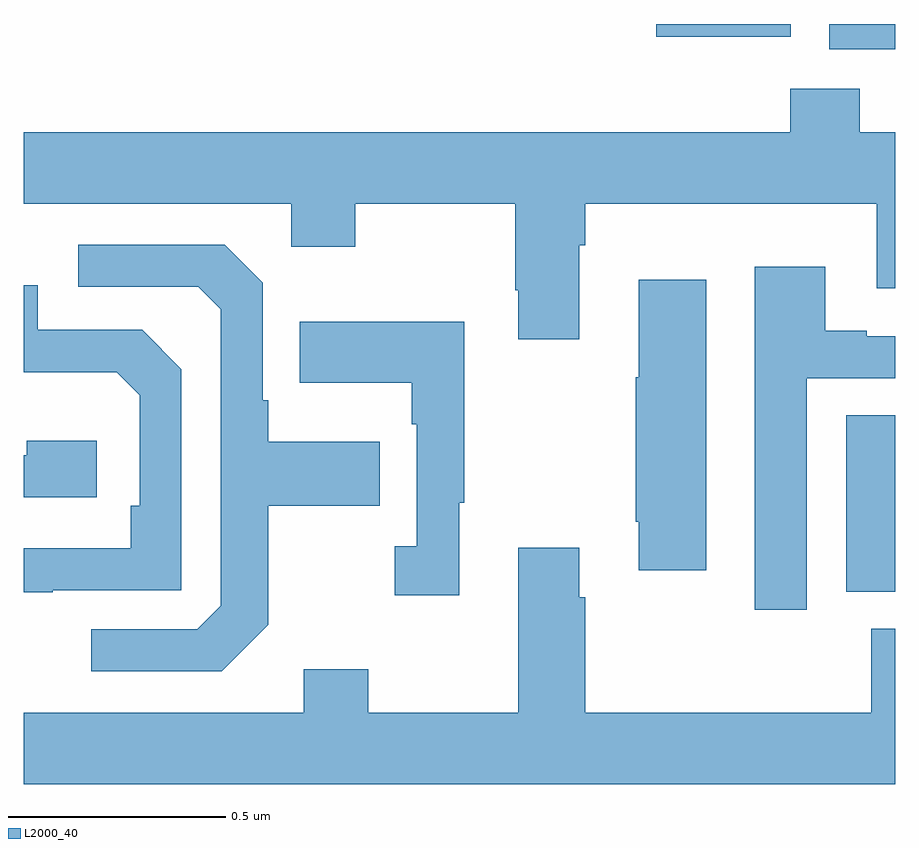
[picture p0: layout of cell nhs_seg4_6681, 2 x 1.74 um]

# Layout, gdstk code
import gdstk
lib = gdstk.Library(unit=1e-6, precision=1e-09)
def R(c, l, rs):  # rectangles x0, y0, x1, y1
    for r in rs: c.add(gdstk.rectangle(r[:2], r[2:], *l))
def P(c, l, *ps):  # polygons
    for p in ps: c.add(gdstk.Polygon(p, *l))
L2000_40 = (2000, 40)

nhs_seg4_6681 = lib.new_cell('nhs_seg4_6681')
R(nhs_seg4_6681, L2000_40, [(194.888,794.597,195,795.002), (194.849,795.842,195,795.9), (194.451,795.871,194.76,795.9)])
P(nhs_seg4_6681, L2000_40, [(194.275,795.392),(194.288,795.392),(194.288,795.488),(194.957,795.488),(194.957,795.294),(195,795.294),(195,795.652),(194.919,795.652),(194.919,795.751),(194.759,795.751),(194.759,795.652),(193,795.652),(193,795.488),(193.614,795.488),(193.614,795.389),(193.761,795.389),(193.761,795.488),(194.128,795.488),(194.128,795.289),(194.135,795.289),(194.135,795.177),(194.275,795.177)],
  [(193.561,794.521),(193.561,794.794),(193.817,794.794),(193.817,794.941),(193.561,794.941),(193.561,795.037),(193.548,795.037),(193.548,795.306),(193.461,795.393),(193.125,795.393),(193.125,795.297),(193.401,795.297),(193.452,795.246),(193.452,794.565),(193.398,794.511),(193.155,794.511),(193.155,794.415),(193.455,794.415)],
  [(194.797,795.087),(195,795.087),(195,795.183),(194.935,795.183),(194.935,795.196),(194.839,795.196),(194.839,795.343),(194.678,795.343),(194.678,794.556),(194.797,794.556)],
  [(194.566,795.313),(194.411,795.313),(194.411,795.089),(194.404,795.089),(194.404,794.758),(194.411,794.758),(194.411,794.646),(194.566,794.646)],
  [(193.067,794.601),(193.362,794.601),(193.362,795.108),(193.272,795.198),(193.032,795.198),(193.032,795.3),(193,795.3),(193,795.101),(193.213,795.101),(193.266,795.048),(193.266,794.794),(193.246,794.794),(193.246,794.697),(193,794.697),(193,794.596),(193.067,794.596)],
  [(193.999,794.801),(194.011,794.801),(194.011,795.217),(193.633,795.217),(193.633,795.077),(193.89,795.077),(193.89,794.981),(193.902,794.981),(193.902,794.702),(193.851,794.702),(193.851,794.589),(193.999,794.589)],
  [(193.168,794.944),(193.007,794.944),(193.007,794.91),(193,794.91),(193,794.814),(193.168,794.814)],
  [(195,794.512),(194.945,794.512),(194.945,794.32),(194.288,794.32),(194.288,794.585),(194.275,794.585),(194.275,794.698),(194.135,794.698),(194.135,794.32),(193.791,794.32),(193.791,794.419),(193.643,794.419),(193.643,794.32),(193,794.32),(193,794.156),(195,794.156)])

lib.write_gds('nhs_seg4_6681.gds')
